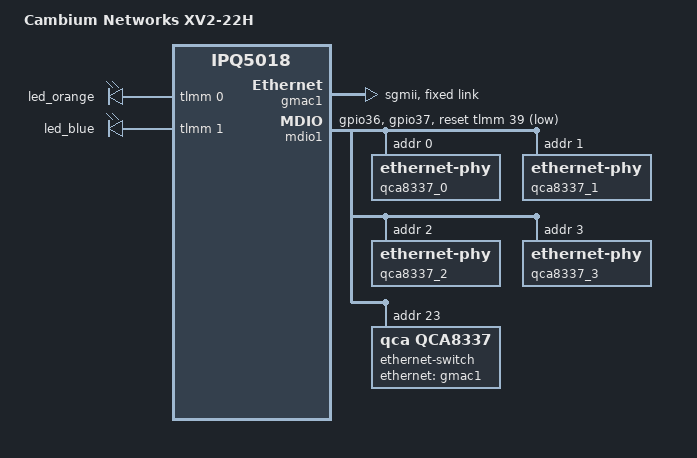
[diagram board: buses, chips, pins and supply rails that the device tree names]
// SPDX-License-Identifier: GPL-2.0-or-later OR MIT

/*
 * OEM mp03.3-cheetah has an internal PHY plus a QCA8337 with four external
 * PHYs. This is a read-only recovery candidate for controlled hardware tests.
 */
#include "ipq5018-xv2-21x.dts"

/ {
	model = "Cambium Networks XV2-22H";
	compatible = "cambiumnetworks,xv2-22h", "qcom,ipq5018";

	cambium-platform {
		board-sku = <34>;
	};
};

/* OEM LED list is 0xff, GPIO30, GPIO0 and GPIO1 on this model. */
&led_orange { gpios = <&tlmm 0 GPIO_ACTIVE_HIGH>; };
&led_blue { gpios = <&tlmm 1 GPIO_ACTIVE_HIGH>; };

&gmac1 {
	status = "okay";
	phy-mode = "sgmii";
	nvmem-cells = <&macaddr_appsblenv_ethaddr (-4)>;
	nvmem-cell-names = "mac-address";
	fixed-link { speed = <1000>; full-duplex; };
};

&mdio1 {
	status = "okay";
	pinctrl-0 = <&mdio1_pins>;
	pinctrl-names = "default";
	reset-gpios = <&tlmm 39 GPIO_ACTIVE_LOW>;

	qca8337_0: ethernet-phy@0 { reg = <0>; };
	qca8337_1: ethernet-phy@1 { reg = <1>; };
	qca8337_2: ethernet-phy@2 { reg = <2>; };
	qca8337_3: ethernet-phy@3 { reg = <3>; };

	ethernet-switch@17 {
		compatible = "qca,qca8337";
		reg = <0x17>;
		#address-cells = <1>;
		#size-cells = <0>;

		ethernet-ports {
			#address-cells = <1>;
			#size-cells = <0>;
			ethernet-port@1 { reg = <1>; label = "lan1"; phy-handle = <&qca8337_0>; };
			ethernet-port@2 { reg = <2>; label = "lan2"; phy-handle = <&qca8337_1>; };
			ethernet-port@3 { reg = <3>; label = "lan3"; phy-handle = <&qca8337_2>; };
			ethernet-port@4 { reg = <4>; label = "lan4"; phy-handle = <&qca8337_3>; };
			ethernet-port@6 {
				reg = <6>;
				phy-mode = "sgmii";
				ethernet = <&gmac1>;
				qca,sgmii-enable-pll;
				fixed-link { speed = <1000>; full-duplex; };
			};
		};
	};
};

/* Radio board files and PoE outputs remain disabled until captured. */
&wifi { status = "disabled"; };
&wifi1 { status = "disabled"; };

/* IPQ5018 MDIO1 on its only pin mux, as on the reference boards. */
&tlmm {
	mdio1_pins: mdio-state {
		mdc-pins {
			pins = "gpio36";
			function = "mdc";
			drive-strength = <8>;
			bias-pull-up;
		};

		mdio-pins {
			pins = "gpio37";
			function = "mdio";
			drive-strength = <8>;
			bias-pull-up;
		};
	};
};
